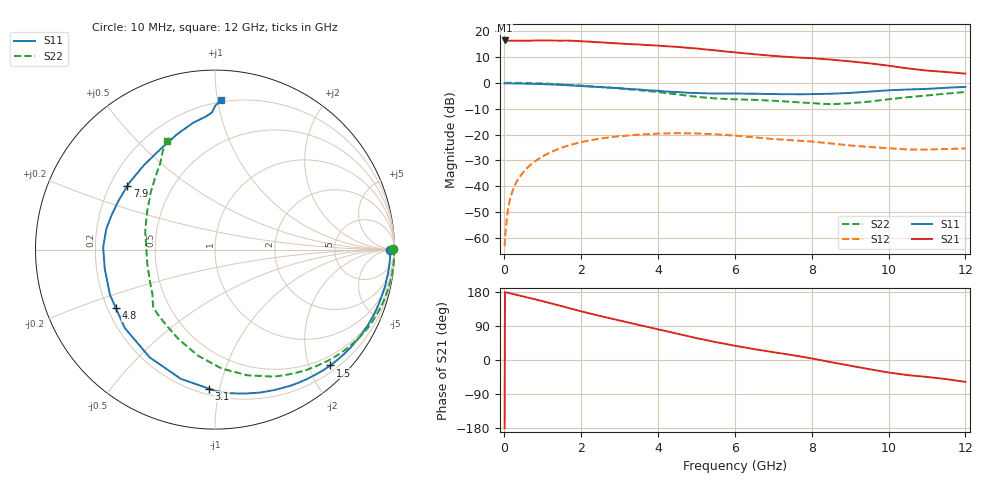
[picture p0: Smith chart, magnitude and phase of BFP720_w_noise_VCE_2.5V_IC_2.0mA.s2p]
! Infineon Technologies  Discrete & RF Semiconductors
! BFP720
! VCE =  2.5 V,  IC =  2.0 mA
! Common Emitter S-Parameters:  Aug 2012
# GHz  S  MA  R  50
!  f  S11  S21  S12  S22
! GHz  MAG  ANG  MAG  ANG  MAG  ANG  MAG  ANG
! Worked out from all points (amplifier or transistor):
!   105 points, 10 MHz to 12 GHz, reference 50 ohm
!   highest |S21| = 16.4 dB at 10 MHz (marker M1)
!   |S21| within 3 dB of that: start of sweep to 4.917 GHz
!   unconditionally stable (mu >= 1): 7.586 GHz to 11.8 GHz
!   at 300 MHz: K = 0.02, MSG = 27.6 dB, |S12| = -38.9 dB
!   at 3.6 GHz: K = 0.30, MSG = 17.3 dB, |S12| = -19.9 dB
!   at 12 GHz: K = 0.89, MSG = 14.5 dB, |S12| = -25.4 dB
!   lowest NFmin = 0.39 dB at 450 MHz
!   S11 on the Smith chart (normalised r, x): 10 MHz: 77, -10; 1.5 GHz: 0.31, -2.37; 3.1 GHz: 0.24, -0.93; 4.8 GHz: 0.23, -0.26; 7.9 GHz: 0.27, +0.30; 12 GHz: 0.19, +1.03
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0.01  0.9747 -0.2  6.576 -179.8  0.0007 -79.7  0.9938 0.3
0.02  0.9761 -0.5  6.423 179.1  0.0009 93.6  0.9992 -0.4
0.07  0.9764 -2.0  6.491 177.9  0.0025 88.6  0.9985 -1.5
0.13  0.9759 -3.7  6.499 176.6  0.0048 87.0  0.9989 -2.8
0.35  0.9704 -9.9  6.505 171.2  0.0133 83.2  0.9958 -7.6
1  0.9447 -29.3  6.575 155.2  0.0379 69.5  0.9708 -22.1
1.5  0.9113 -45.1  6.513 142.1  0.0559 58.1  0.9322 -33.5
1.8  0.8842 -54.8  6.467 133.8  0.0656 51.1  0.9029 -40.3
2.1  0.8577 -63.9  6.293 126.0  0.074 44.3  0.8706 -46.8
2.6  0.8189 -78.4  5.989 113.6  0.0857 33.8  0.8194 -57.2
3.1  0.7751 -92.6  5.681 102.0  0.0943 23.9  0.766 -67.2
3.5  0.7449 -104.8  5.503 92.5  0.1 16.4  0.7231 -75.6
4.1  0.6897 -124.6  5.166 78.7  0.1048 5.4  0.6487 -89.0
4.8  0.6413 -149.5  4.723 62.6  0.1056 -6.9  0.5596 -106.5
5.5  0.6234 -170.2  4.23 47.1  0.1015 -18.3  0.4994 -123.4
6.1  0.6205 176.9  3.809 35.9  0.0942 -25.9  0.4781 -133.0
7  0.607 161.3  3.313 20.6  0.0821 -33.5  0.4503 -140.4
7.9  0.6031 144.2  3.009 5.9  0.0742 -38.5  0.4091 -151.4
8.5  0.6154 129.8  2.807 -5.6  0.0674 -41.9  0.3856 -168.0
9.5  0.6765 108.2  2.379 -24.2  0.0578 -41.3  0.4337 150.6
10.5  0.7426 94.0  1.898 -39.9  0.0516 -37.6  0.528 128.6
12  0.835 87.6  1.505 -57.7  0.054 -31.6  0.664 113.9
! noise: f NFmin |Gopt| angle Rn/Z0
0.45  0.39  0.68  5  0.26
1.8  0.53  0.62  29  0.21
2.4  0.62  0.52  76  0.19
5.5  0.87  0.39  86  0.14
10  1.32  0.47  -108  0.22
